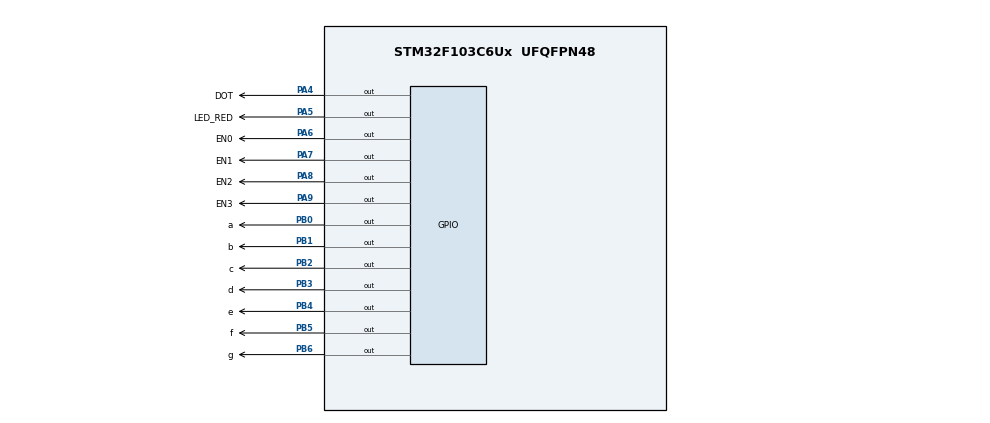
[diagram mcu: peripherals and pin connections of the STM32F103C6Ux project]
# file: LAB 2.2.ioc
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Mcu.Family=STM32F1
Mcu.Name=STM32F103C6Ux
Mcu.Package=UFQFPN48
NVIC.PriorityGroup=NVIC_PRIORITYGROUP_4
NVIC.TIM2_IRQn=true\:0\:0\:false\:false\:true\:true\:true
PA4.GPIO_Label=DOT
PA4.Signal=GPIO_Output
PA5.GPIO_Label=LED_RED
PA5.Signal=GPIO_Output
PA6.GPIO_Label=EN0
PA6.Signal=GPIO_Output
PA7.GPIO_Label=EN1
PA7.Signal=GPIO_Output
PA8.GPIO_Label=EN2
PA8.Signal=GPIO_Output
PA9.GPIO_Label=EN3
PA9.Signal=GPIO_Output
PB0.GPIO_Label=a
PB0.Signal=GPIO_Output
PB1.GPIO_Label=b
PB1.Signal=GPIO_Output
PB2.GPIO_Label=c
PB2.Signal=GPIO_Output
PB3.GPIO_Label=d
PB3.Signal=GPIO_Output
PB4.GPIO_Label=e
PB4.Signal=GPIO_Output
PB5.GPIO_Label=f
PB5.Signal=GPIO_Output
PB6.GPIO_Label=g
PB6.Signal=GPIO_Output
ProjectManager.HeapSize=0x200
ProjectManager.StackSize=0x400
ProjectManager.TargetToolchain=STM32CubeIDE
RCC.APB1Freq_Value=8000000
RCC.APB2Freq_Value=8000000
TIM2.Period=9
TIM2.Prescaler=7999
VP_SYS_VS_ND.Mode=No_Debug
VP_TIM2_VS_ClockSourceINT.Mode=Internal
board=custom

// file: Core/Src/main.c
/* USER CODE BEGIN Header */
/**
  ******************************************************************************
  * @file           : main.c
  * @brief          : Main program body
  ******************************************************************************
  * @attention
  *
  * <h2><center>&copy; Copyright (c) 2025 STMicroelectronics.
  * All rights reserved.</center></h2>
  *
  * This software component is licensed by ST under BSD 3-Clause license,
  * the "License"; You may not use this file except in compliance with the
  * License. You may obtain a copy of the License at:
  *                        opensource.org/licenses/BSD-3-Clause
  *
  ******************************************************************************
  */
/* USER CODE END Header */
#include "main.h"

TIM_HandleTypeDef htim2;

void SystemClock_Config(void);
static void MX_GPIO_Init(void);
static void MX_TIM2_Init(void);

int main(void)
{

  /* MCU Configuration--------------------------------------------------------*/

  /* Reset of all peripherals, Initializes the Flash interface and the Systick. */
  HAL_Init();

  /* Configure the system clock */
  SystemClock_Config();

  /* Initialize all configured peripherals */
  MX_GPIO_Init();
  MX_TIM2_Init();
  /* USER CODE BEGIN 2 */
  HAL_TIM_Base_Start_IT(&htim2);
  /* USER CODE END 2 */

  /* Infinite loop */
  while (1)
  {

  }
}

void display7SEG(int num)
{
	if(num>=0 && num<=9){
	 if(num==0){
		   HAL_GPIO_WritePin(a_GPIO_Port, a_Pin, 0);
		   HAL_GPIO_WritePin(a_GPIO_Port, b_Pin, 0);
		   HAL_GPIO_WritePin(a_GPIO_Port, c_Pin, 0);
		   HAL_GPIO_WritePin(a_GPIO_Port, d_Pin, 0);
		   HAL_GPIO_WritePin(a_GPIO_Port, e_Pin, 0);
		   HAL_GPIO_WritePin(a_GPIO_Port, f_Pin, 0);
		   HAL_GPIO_WritePin(a_GPIO_Port, g_Pin, 1);
	 }
	 if (num==1){
	 		HAL_GPIO_WritePin(a_GPIO_Port, a_Pin, 1);
	 		HAL_GPIO_WritePin(a_GPIO_Port, b_Pin, 0);
	 		HAL_GPIO_WritePin(a_GPIO_Port, c_Pin, 0);
	 		HAL_GPIO_WritePin(a_GPIO_Port, d_Pin, 1);
	 		HAL_GPIO_WritePin(a_GPIO_Port, e_Pin, 1);
	 		HAL_GPIO_WritePin(a_GPIO_Port, f_Pin, 1);
	 		HAL_GPIO_WritePin(a_GPIO_Port, g_Pin, 1);
	 	}
	 	else if (num==2){
	 		HAL_GPIO_WritePin(a_GPIO_Port, a_Pin, 0);
	 		HAL_GPIO_WritePin(a_GPIO_Port, b_Pin, 0);
	 		HAL_GPIO_WritePin(a_GPIO_Port, c_Pin, 1);
	 		HAL_GPIO_WritePin(a_GPIO_Port, d_Pin, 0);
	 		HAL_GPIO_WritePin(a_GPIO_Port, e_Pin, 0);
	 		HAL_GPIO_WritePin(a_GPIO_Port, f_Pin, 1);
	 		HAL_GPIO_WritePin(a_GPIO_Port, g_Pin, 0);
	 	}
	 	else if (num==3){
	 		HAL_GPIO_WritePin(a_GPIO_Port, a_Pin, 0);
	 		HAL_GPIO_WritePin(a_GPIO_Port, b_Pin, 0);
	 		HAL_GPIO_WritePin(a_GPIO_Port, c_Pin, 0);
	 		HAL_GPIO_WritePin(a_GPIO_Port, d_Pin, 0);
	 		HAL_GPIO_WritePin(a_GPIO_Port, e_Pin, 1);
	 		HAL_GPIO_WritePin(a_GPIO_Port, f_Pin, 1);
	 		HAL_GPIO_WritePin(a_GPIO_Port, g_Pin, 0);

	 	}
	 	else if (num==4){
	 		HAL_GPIO_WritePin(a_GPIO_Port, a_Pin, 1);
	 		HAL_GPIO_WritePin(a_GPIO_Port, b_Pin, 0);
	 		HAL_GPIO_WritePin(a_GPIO_Port, c_Pin, 0);
	 		HAL_GPIO_WritePin(a_GPIO_Port, d_Pin, 1);
	 		HAL_GPIO_WritePin(a_GPIO_Port, e_Pin, 1);
	 		HAL_GPIO_WritePin(a_GPIO_Port, f_Pin, 0);
	 		HAL_GPIO_WritePin(a_GPIO_Port, g_Pin, 0);
	 	}
	 	else if (num==5){
	 		HAL_GPIO_WritePin(a_GPIO_Port, a_Pin, 0);
	 		HAL_GPIO_WritePin(a_GPIO_Port, b_Pin, 1);
	 		HAL_GPIO_WritePin(a_GPIO_Port, c_Pin, 0);
	 		HAL_GPIO_WritePin(a_GPIO_Port, d_Pin, 0);
	 		HAL_GPIO_WritePin(a_GPIO_Port, e_Pin, 1);
	 		HAL_GPIO_WritePin(a_GPIO_Port, f_Pin, 0);
	 		HAL_GPIO_WritePin(a_GPIO_Port, g_Pin, 0);
	 	}
	 	else if (num==6){
	 		HAL_GPIO_WritePin(a_GPIO_Port, a_Pin, 0);
	 		HAL_GPIO_WritePin(a_GPIO_Port, b_Pin, 1);
	 		HAL_GPIO_WritePin(a_GPIO_Port, c_Pin, 0);
	 		HAL_GPIO_WritePin(a_GPIO_Port, d_Pin, 0);
	 		HAL_GPIO_WritePin(a_GPIO_Port, e_Pin, 0);
	 		HAL_GPIO_WritePin(a_GPIO_Port, f_Pin, 0);
	 		HAL_GPIO_WritePin(a_GPIO_Port, g_Pin, 0);
	 	}
	 	else if (num==7){
	 		HAL_GPIO_WritePin(a_GPIO_Port, a_Pin, 0);
	 		HAL_GPIO_WritePin(a_GPIO_Port, b_Pin, 0);
	 		HAL_GPIO_WritePin(a_GPIO_Port, c_Pin, 0);
	 		HAL_GPIO_WritePin(a_GPIO_Port, d_Pin, 1);
	 		HAL_GPIO_WritePin(a_GPIO_Port, e_Pin, 1);
	 		HAL_GPIO_WritePin(a_GPIO_Port, f_Pin, 1);
	 		HAL_GPIO_WritePin(a_GPIO_Port, g_Pin, 1);
	 	}
	 	else if (num==8){
	 		HAL_GPIO_WritePin(a_GPIO_Port, a_Pin, 0);
	 		HAL_GPIO_WritePin(a_GPIO_Port, b_Pin, 0);
	 		HAL_GPIO_WritePin(a_GPIO_Port, c_Pin, 0);
	 		HAL_GPIO_WritePin(a_GPIO_Port, d_Pin, 0);
	 		HAL_GPIO_WritePin(a_GPIO_Port, e_Pin, 0);
	 		HAL_GPIO_WritePin(a_GPIO_Port, f_Pin, 0);
	 		HAL_GPIO_WritePin(a_GPIO_Port, g_Pin, 0);
	 	}
	 	else if (num==9){
	 		HAL_GPIO_WritePin(a_GPIO_Port, a_Pin, 0);
	 		HAL_GPIO_WritePin(a_GPIO_Port, b_Pin, 0);
	 		HAL_GPIO_WritePin(a_GPIO_Port, c_Pin, 0);
	 		HAL_GPIO_WritePin(a_GPIO_Port, d_Pin, 0);
	 		HAL_GPIO_WritePin(a_GPIO_Port, e_Pin, 1);
	 		HAL_GPIO_WritePin(a_GPIO_Port, f_Pin, 0);
	 		HAL_GPIO_WritePin(a_GPIO_Port, g_Pin, 0);
	 	}
	}
	else return;
}
void SystemClock_Config(void)
{
  RCC_OscInitTypeDef RCC_OscInitStruct = {0};
  RCC_ClkInitTypeDef RCC_ClkInitStruct = {0};

  /** Initializes the RCC Oscillators according to the specified parameters
  * in the RCC_OscInitTypeDef structure.
  */
  RCC_OscInitStruct.OscillatorType = RCC_OSCILLATORTYPE_HSI;
  RCC_OscInitStruct.HSIState = RCC_HSI_ON;
  RCC_OscInitStruct.HSICalibrationValue = RCC_HSICALIBRATION_DEFAULT;
  RCC_OscInitStruct.PLL.PLLState = RCC_PLL_NONE;
  if (HAL_RCC_OscConfig(&RCC_OscInitStruct) != HAL_OK)
  {
    Error_Handler();
  }
  /** Initializes the CPU, AHB and APB buses clocks
  */
  RCC_ClkInitStruct.ClockType = RCC_CLOCKTYPE_HCLK|RCC_CLOCKTYPE_SYSCLK
                              |RCC_CLOCKTYPE_PCLK1|RCC_CLOCKTYPE_PCLK2;
  RCC_ClkInitStruct.SYSCLKSource = RCC_SYSCLKSOURCE_HSI;
  RCC_ClkInitStruct.AHBCLKDivider = RCC_SYSCLK_DIV1;
  RCC_ClkInitStruct.APB1CLKDivider = RCC_HCLK_DIV1;
  RCC_ClkInitStruct.APB2CLKDivider = RCC_HCLK_DIV1;

  if (HAL_RCC_ClockConfig(&RCC_ClkInitStruct, FLASH_LATENCY_0) != HAL_OK)
  {
    Error_Handler();
  }
}

static void MX_TIM2_Init(void)
{

  TIM_ClockConfigTypeDef sClockSourceConfig = {0};
  TIM_MasterConfigTypeDef sMasterConfig = {0};

  htim2.Instance = TIM2;
  htim2.Init.Prescaler = 7999;
  htim2.Init.CounterMode = TIM_COUNTERMODE_UP;
  htim2.Init.Period = 9;
  htim2.Init.ClockDivision = TIM_CLOCKDIVISION_DIV1;
  htim2.Init.AutoReloadPreload = TIM_AUTORELOAD_PRELOAD_DISABLE;
  if (HAL_TIM_Base_Init(&htim2) != HAL_OK)
  {
    Error_Handler();
  }
  sClockSourceConfig.ClockSource = TIM_CLOCKSOURCE_INTERNAL;
  if (HAL_TIM_ConfigClockSource(&htim2, &sClockSourceConfig) != HAL_OK)
  {
    Error_Handler();
  }
  sMasterConfig.MasterOutputTrigger = TIM_TRGO_RESET;
  sMasterConfig.MasterSlaveMode = TIM_MASTERSLAVEMODE_DISABLE;
  if (HAL_TIMEx_MasterConfigSynchronization(&htim2, &sMasterConfig) != HAL_OK)
  {
    Error_Handler();
  }

}

static void MX_GPIO_Init(void)
{
  GPIO_InitTypeDef GPIO_InitStruct = {0};

  /* GPIO Ports Clock Enable */
  __HAL_RCC_GPIOA_CLK_ENABLE();
  __HAL_RCC_GPIOB_CLK_ENABLE();

  /*Configure GPIO pin Output Level */
  HAL_GPIO_WritePin(GPIOA, DOT_Pin|LED_RED_Pin|EN0_Pin|EN1_Pin
                          |EN2_Pin|EN3_Pin, GPIO_PIN_RESET);

  /*Configure GPIO pin Output Level */
  HAL_GPIO_WritePin(GPIOB, a_Pin|b_Pin|c_Pin|d_Pin
                          |e_Pin|f_Pin|g_Pin, GPIO_PIN_RESET);

  /*Configure GPIO pins : DOT_Pin LED_RED_Pin EN0_Pin EN1_Pin
                           EN2_Pin EN3_Pin */
  GPIO_InitStruct.Pin = DOT_Pin|LED_RED_Pin|EN0_Pin|EN1_Pin
                          |EN2_Pin|EN3_Pin;
  GPIO_InitStruct.Mode = GPIO_MODE_OUTPUT_PP;
  GPIO_InitStruct.Pull = GPIO_NOPULL;
  GPIO_InitStruct.Speed = GPIO_SPEED_FREQ_LOW;
  HAL_GPIO_Init(GPIOA, &GPIO_InitStruct);

  /*Configure GPIO pins : a_Pin b_Pin c_Pin d_Pin
                           e_Pin f_Pin g_Pin */
  GPIO_InitStruct.Pin = a_Pin|b_Pin|c_Pin|d_Pin
                          |e_Pin|f_Pin|g_Pin;
  GPIO_InitStruct.Mode = GPIO_MODE_OUTPUT_PP;
  GPIO_InitStruct.Pull = GPIO_NOPULL;
  GPIO_InitStruct.Speed = GPIO_SPEED_FREQ_LOW;
  HAL_GPIO_Init(GPIOB, &GPIO_InitStruct);

}

/* USER CODE BEGIN 4 */
int counter = 50;
int dot_counter = 100;
int led_idx = 0;
void HAL_TIM_PeriodElapsedCallback ( TIM_HandleTypeDef * htim ){
	if(--dot_counter <=0){
		dot_counter = 100;
		HAL_GPIO_TogglePin(DOT_GPIO_Port, DOT_Pin);
	}
	counter --;
	if(counter <= 0){
		counter = 50;
		HAL_GPIO_WritePin(EN0_GPIO_Port, EN0_Pin, 1);
		HAL_GPIO_WritePin(EN1_GPIO_Port, EN1_Pin, 1);
		HAL_GPIO_WritePin(EN2_GPIO_Port, EN2_Pin, 1);
		HAL_GPIO_WritePin(EN3_GPIO_Port, EN3_Pin, 1);

		if(led_idx == 0){
			display7SEG(1);
			HAL_GPIO_WritePin(EN0_GPIO_Port, EN0_Pin, 0);
			led_idx = 1;
		}
		else if(led_idx == 1){
			display7SEG(2);
			HAL_GPIO_WritePin(EN1_GPIO_Port, EN1_Pin, 0);
			led_idx = 2;
		}
		else if(led_idx == 2){
			display7SEG(3);
			HAL_GPIO_WritePin(EN2_GPIO_Port, EN2_Pin, 0);
			led_idx = 3;
		}
		else{
			display7SEG(0);
			HAL_GPIO_WritePin(EN3_GPIO_Port, EN3_Pin, 0);
			led_idx = 0;
		}
	}
}
/* USER CODE END 4 */

void Error_Handler(void)
{
  __disable_irq();
  while (1)
  {
  }
}

/************************ (C) COPYRIGHT STMicroelectronics *****END OF FILE****/
